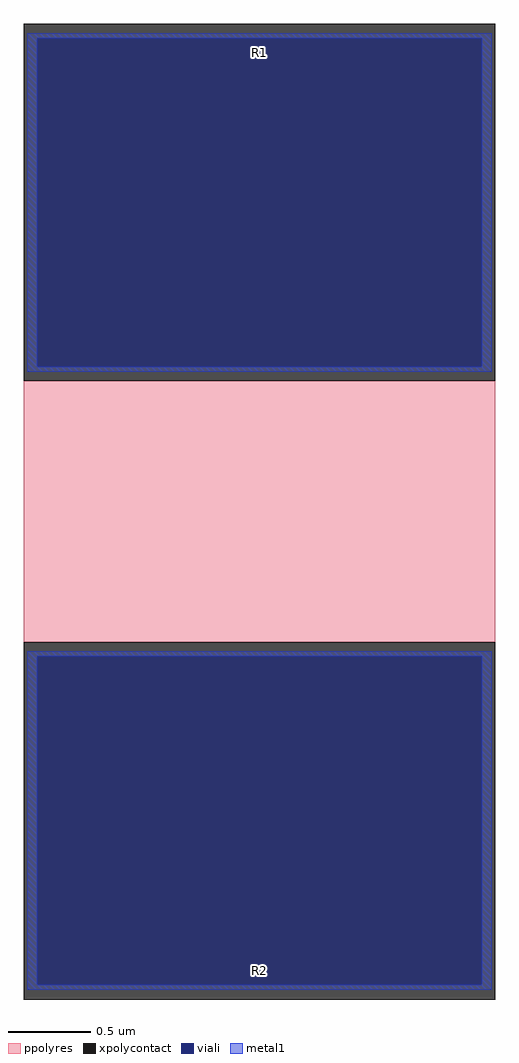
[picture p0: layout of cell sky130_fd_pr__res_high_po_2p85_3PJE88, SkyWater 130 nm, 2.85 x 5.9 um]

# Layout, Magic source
magic
tech sky130A
magscale 1 2
<< xpolycontact >>
rect -285 158 285 590
rect -285 -590 285 -158
<< ppolyres >>
rect -285 -158 285 158
<< viali >>
rect -269 175 269 572
rect -269 -572 269 -175
<< metal1 >>
rect -281 572 281 578
rect -281 175 -269 572
rect 269 175 281 572
rect -281 169 281 175
rect -281 -175 281 -169
rect -281 -572 -269 -175
rect 269 -572 281 -175
rect -281 -578 281 -572
<< labels >>
rlabel xpolycontact 0 555 0 555 0 R1
port 1 nsew
rlabel xpolycontact 0 -555 0 -555 0 R2
port 2 nsew
<< properties >>
string gencell sky130_fd_pr__res_high_po_2p85
string library sky130
string parameters w 2.85 l 1.74 m 1 nx 1 wmin 2.850 lmin 0.50 class resistor rho 319.8 val 331.962 dummy 0 dw 0.0 term 194.82 sterm 0.0 caplen 0 guard 0 glc 1 grc 1 gtc 1 gbc 1 compatible {sky130_fd_pr__res_high_po_0p35  sky130_fd_pr__res_high_po_0p69 sky130_fd_pr__res_high_po_1p41  sky130_fd_pr__res_high_po_2p85 sky130_fd_pr__res_high_po_5p73} snake 0 full_metal 0 wmax 2.850 n_guard 0 hv_guard 0 vias 1 viagb 0 viagt 0 viagl 0 viagr 0 doports 1
<< end >>
